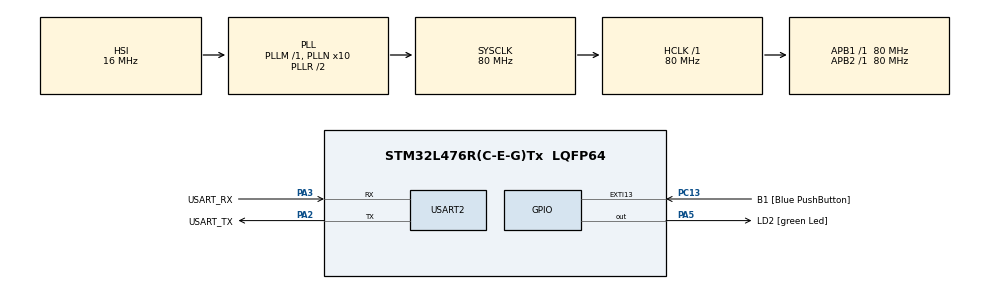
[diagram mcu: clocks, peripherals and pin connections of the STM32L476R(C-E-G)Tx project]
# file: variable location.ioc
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Mcu.Family=STM32L4
Mcu.Name=STM32L476R(C-E-G)Tx
Mcu.Package=LQFP64
NVIC.PriorityGroup=NVIC_PRIORITYGROUP_4
PA13\ (JTMS-SWDIO).GPIO_Label=TMS
PA13\ (JTMS-SWDIO).Mode=Serial_Wire
PA13\ (JTMS-SWDIO).Signal=SYS_JTMS-SWDIO
PA14\ (JTCK-SWCLK).GPIO_Label=TCK
PA14\ (JTCK-SWCLK).Mode=Serial_Wire
PA14\ (JTCK-SWCLK).Signal=SYS_JTCK-SWCLK
PA2.GPIO_Label=USART_TX
PA2.GPIO_Mode=GPIO_MODE_AF_PP
PA2.GPIO_PuPd=GPIO_NOPULL
PA2.GPIO_Speed=GPIO_SPEED_FREQ_VERY_HIGH
PA2.Mode=Asynchronous
PA2.Signal=USART2_TX
PA3.GPIO_Label=USART_RX
PA3.GPIO_Mode=GPIO_MODE_AF_PP
PA3.GPIO_PuPd=GPIO_NOPULL
PA3.GPIO_Speed=GPIO_SPEED_FREQ_VERY_HIGH
PA3.Mode=Asynchronous
PA3.Signal=USART2_RX
PA5.GPIO_Label=LD2 [green Led]
PA5.GPIO_ModeDefaultOutputPP=GPIO_MODE_OUTPUT_PP
PA5.GPIO_PuPd=GPIO_NOPULL
PA5.GPIO_Speed=GPIO_SPEED_FREQ_LOW
PA5.Signal=GPIO_Output
PB3\ (JTDO-TRACESWO).GPIO_Label=SWO
PB3\ (JTDO-TRACESWO).Signal=SYS_JTDO-SWO
PC13.GPIO_Label=B1 [Blue PushButton]
PC13.GPIO_ModeDefaultEXTI=GPIO_MODE_IT_FALLING
PC13.GPIO_PuPd=GPIO_NOPULL
PC13.Signal=GPXTI13
PC14-OSC32_IN\ (PC14).Mode=LSE-External-Oscillator
PC14-OSC32_IN\ (PC14).Signal=RCC_OSC32_IN
PC15-OSC32_OUT\ (PC15).Mode=LSE-External-Oscillator
PC15-OSC32_OUT\ (PC15).Signal=RCC_OSC32_OUT
PH0-OSC_IN\ (PH0).Signal=RCC_OSC_IN
PH1-OSC_OUT\ (PH1).Signal=RCC_OSC_OUT
ProjectManager.HeapSize=0x200
ProjectManager.StackSize=0x400
ProjectManager.TargetToolchain=STM32CubeIDE
RCC.ADCFreq_Value=64000000
RCC.AHBFreq_Value=80000000
RCC.APB1Freq_Value=80000000
RCC.APB1TimFreq_Value=80000000
RCC.APB2Freq_Value=80000000
RCC.APB2TimFreq_Value=80000000
RCC.CortexFreq_Value=80000000
RCC.HCLKFreq_Value=80000000
RCC.HSE_VALUE=8000000
RCC.HSI_VALUE=16000000
RCC.MSI_VALUE=4000000
RCC.PLLN=10
RCC.PLLSourceVirtual=RCC_PLLSOURCE_HSI
RCC.PREFETCH_ENABLE=1
RCC.SYSCLKFreq_VALUE=80000000
RCC.SYSCLKSource=RCC_SYSCLKSOURCE_PLLCLK
RCC.USBFreq_Value=64000000
RCC.VCOOutputFreq_Value=160000000
USART2.VirtualMode-Asynchronous=VM_ASYNC
board=NUCLEO-L476RG

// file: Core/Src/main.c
/* USER CODE BEGIN Header */
/**
  ******************************************************************************
  * @file           : main.c
  * @brief          : Main program body
  ******************************************************************************
  * @attention
  *
  * Copyright (c) 2026 STMicroelectronics.
  * All rights reserved.
  *
  * This software is licensed under terms that can be found in the LICENSE file
  * in the root directory of this software component.
  * If no LICENSE file comes with this software, it is provided AS-IS.
  *
  ******************************************************************************
  */
/* USER CODE END Header */
#include "main.h"

/* USER CODE BEGIN Includes */
#include "stm32l4xx.h"

/* USER CODE END Includes */

UART_HandleTypeDef huart2;

/* USER CODE BEGIN PV */
// flash
const volatile int  cst_int    = 0x1234;
const volatile char cst_text[] = "ISEN";

// SRAM (initialisé donc dans .data)
int data_var1 = 42;
int data_var2 = 7;

// SRAM (mais pas initialisé donc dans .bss)
int bss_var1;
static int bss_var2;

/* USER CODE END PV */

void SystemClock_Config(void);
static void MX_GPIO_Init(void);
static void MX_USART2_UART_Init(void);

/* USER CODE BEGIN 0 */
int function1(char x) {
    int i;                        /* local : registre ou pile            */
    volatile int stack_var = x;   /* volatile : forcé en pile            */
    register int reg_var = x * 2; /* demandé en registre (R4-R11)        */

    for (i = 0; i < 3; i++) {
        reg_var += stack_var;
    }
    return reg_var;
}

/* USER CODE END 0 */

int main(void)
{

  /* USER CODE BEGIN 1 */
	unsigned char sw1 = 1;   /* local : pile (-O0) ou registre (-O1+) */
	volatile int k;          /* local volatile : pile                 */
	int res;

  /* USER CODE END 1 */

  /* MCU Configuration--------------------------------------------------------*/

  /* Reset of all peripherals, Initializes the Flash interface and the Systick. */
  HAL_Init();

  /* Configure the system clock */
  SystemClock_Config();

  /* Initialize all configured peripherals */
  MX_GPIO_Init();
  MX_USART2_UART_Init();
  /* USER CODE BEGIN 2 */
	k = cst_int + cst_text[0] + data_var1 + data_var2;
	bss_var1 = k;
	bss_var2 = bss_var1 + 1;

  /* USER CODE END 2 */

  /* Infinite loop */
  while (1)
  {

    /* USER CODE BEGIN 3 */
	  	  res = function1(sw1);
	      bss_var1 += res;
  }
  /* USER CODE END 3 */
}

void SystemClock_Config(void)
{
  RCC_OscInitTypeDef RCC_OscInitStruct = {0};
  RCC_ClkInitTypeDef RCC_ClkInitStruct = {0};

  /** Configure the main internal regulator output voltage
  */
  if (HAL_PWREx_ControlVoltageScaling(PWR_REGULATOR_VOLTAGE_SCALE1) != HAL_OK)
  {
    Error_Handler();
  }

  /** Initializes the RCC Oscillators according to the specified parameters
  * in the RCC_OscInitTypeDef structure.
  */
  RCC_OscInitStruct.OscillatorType = RCC_OSCILLATORTYPE_HSI;
  RCC_OscInitStruct.HSIState = RCC_HSI_ON;
  RCC_OscInitStruct.HSICalibrationValue = RCC_HSICALIBRATION_DEFAULT;
  RCC_OscInitStruct.PLL.PLLState = RCC_PLL_ON;
  RCC_OscInitStruct.PLL.PLLSource = RCC_PLLSOURCE_HSI;
  RCC_OscInitStruct.PLL.PLLM = 1;
  RCC_OscInitStruct.PLL.PLLN = 10;
  RCC_OscInitStruct.PLL.PLLP = RCC_PLLP_DIV7;
  RCC_OscInitStruct.PLL.PLLQ = RCC_PLLQ_DIV2;
  RCC_OscInitStruct.PLL.PLLR = RCC_PLLR_DIV2;
  if (HAL_RCC_OscConfig(&RCC_OscInitStruct) != HAL_OK)
  {
    Error_Handler();
  }

  /** Initializes the CPU, AHB and APB buses clocks
  */
  RCC_ClkInitStruct.ClockType = RCC_CLOCKTYPE_HCLK|RCC_CLOCKTYPE_SYSCLK
                              |RCC_CLOCKTYPE_PCLK1|RCC_CLOCKTYPE_PCLK2;
  RCC_ClkInitStruct.SYSCLKSource = RCC_SYSCLKSOURCE_PLLCLK;
  RCC_ClkInitStruct.AHBCLKDivider = RCC_SYSCLK_DIV1;
  RCC_ClkInitStruct.APB1CLKDivider = RCC_HCLK_DIV1;
  RCC_ClkInitStruct.APB2CLKDivider = RCC_HCLK_DIV1;

  if (HAL_RCC_ClockConfig(&RCC_ClkInitStruct, FLASH_LATENCY_4) != HAL_OK)
  {
    Error_Handler();
  }
}

static void MX_USART2_UART_Init(void)
{

  huart2.Instance = USART2;
  huart2.Init.BaudRate = 115200;
  huart2.Init.WordLength = UART_WORDLENGTH_8B;
  huart2.Init.StopBits = UART_STOPBITS_1;
  huart2.Init.Parity = UART_PARITY_NONE;
  huart2.Init.Mode = UART_MODE_TX_RX;
  huart2.Init.HwFlowCtl = UART_HWCONTROL_NONE;
  huart2.Init.OverSampling = UART_OVERSAMPLING_16;
  huart2.Init.OneBitSampling = UART_ONE_BIT_SAMPLE_DISABLE;
  huart2.AdvancedInit.AdvFeatureInit = UART_ADVFEATURE_NO_INIT;
  if (HAL_UART_Init(&huart2) != HAL_OK)
  {
    Error_Handler();
  }

}

static void MX_GPIO_Init(void)
{
  GPIO_InitTypeDef GPIO_InitStruct = {0};

  /* GPIO Ports Clock Enable */
  __HAL_RCC_GPIOC_CLK_ENABLE();
  __HAL_RCC_GPIOH_CLK_ENABLE();
  __HAL_RCC_GPIOA_CLK_ENABLE();
  __HAL_RCC_GPIOB_CLK_ENABLE();

  /*Configure GPIO pin Output Level */
  HAL_GPIO_WritePin(LD2_GPIO_Port, LD2_Pin, GPIO_PIN_RESET);

  /*Configure GPIO pin : B1_Pin */
  GPIO_InitStruct.Pin = B1_Pin;
  GPIO_InitStruct.Mode = GPIO_MODE_IT_FALLING;
  GPIO_InitStruct.Pull = GPIO_NOPULL;
  HAL_GPIO_Init(B1_GPIO_Port, &GPIO_InitStruct);

  /*Configure GPIO pin : LD2_Pin */
  GPIO_InitStruct.Pin = LD2_Pin;
  GPIO_InitStruct.Mode = GPIO_MODE_OUTPUT_PP;
  GPIO_InitStruct.Pull = GPIO_NOPULL;
  GPIO_InitStruct.Speed = GPIO_SPEED_FREQ_LOW;
  HAL_GPIO_Init(LD2_GPIO_Port, &GPIO_InitStruct);

}

void Error_Handler(void)
{
  __disable_irq();
  while (1)
  {
  }
}
